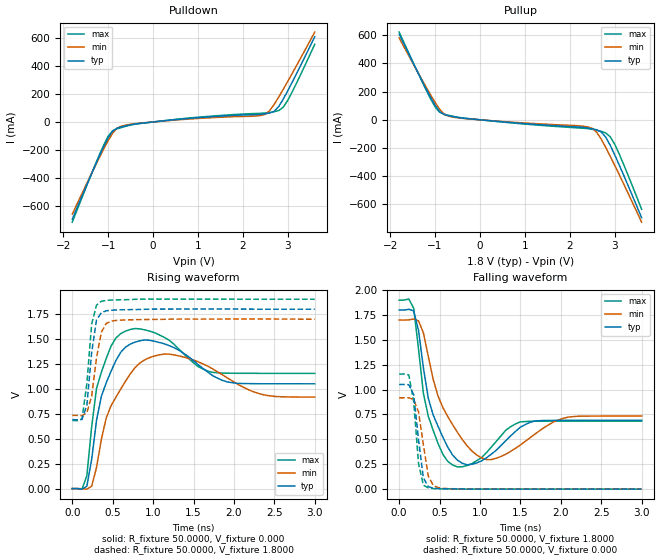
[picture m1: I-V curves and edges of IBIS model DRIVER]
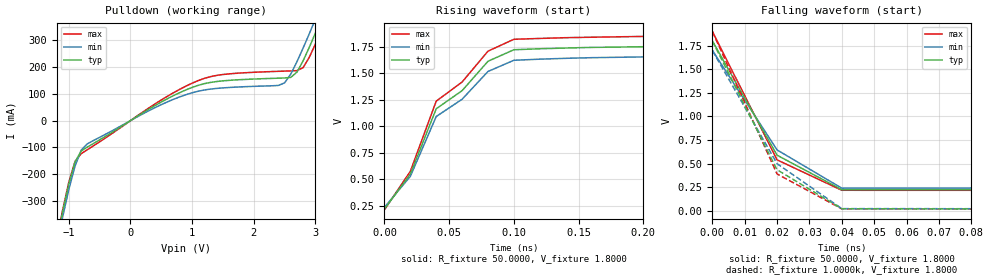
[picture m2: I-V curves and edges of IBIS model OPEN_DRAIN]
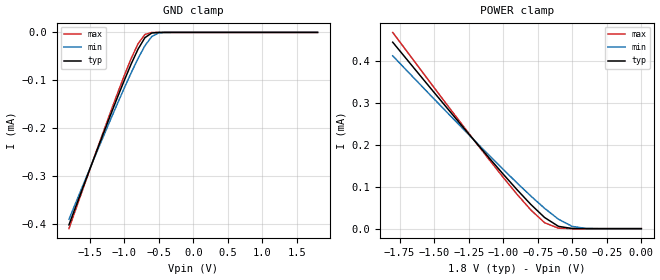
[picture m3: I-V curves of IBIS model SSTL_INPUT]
| IBIS file inb868.ibs created by s2ibis2 version 1.1
| North Carolina State University Electronics Research Laboratory  1995
[IBIS ver]   3.2
[File name]   inb868_v2p0.ibs
[File Rev]   2.0
[Date]   July 03, 2007
[Source]   Inphi Corporation
[Notes]   Add 5 nh package inductance
[Disclaimer] This IBIS model is provided on an AS IS basis and Inphi makes
                 no warranty with respect to the information contained within.
                 You can put blank lines in any of these sections. (But s2ibis2
                 won't print them.) Of course, as noted in the documentation,
                 any text in these sections is truncated at 1KB.
[Copyright]   Copyright 2007 Inphi Corporation.
|   Component INSSTUB32868
[Component]   INSSTUB32868
[Manufacturer]   Inphi Corporation
[Package]
| variable   typ   min   max
R_pkg   2.00m   1.00m   4.00m
L_pkg   5.00nH   4.50nH   5.50nH
C_pkg   0.30pF   0.10pF   0.50pF
[Pin]  signal_name   model_name
A1   D2   SSTL_INPUT
B1   D4   SSTL_INPUT
C1   D6   SSTL_INPUT
D1   D8   SSTL_INPUT
E1   D9   SSTL_INPUT
F1   D10   SSTL_INPUT
G1   D11   SSTL_INPUT
H1   D12   SSTL_INPUT
J1   DCS1   SSTL_INPUT
K1   DCS0   SSTL_INPUT
L1   CK   CLK_INPUT
M1   CKB   CLK_INPUT
N1   D15   SSTL_INPUT
P1   D16   SSTL_INPUT
R1   D17   SSTL_INPUT
T1   D18   SSTL_INPUT
U1   D19   SSTL_INPUT
V1   D20   SSTL_INPUT
W1   D21   SSTL_INPUT
Y1   D23   SSTL_INPUT
AA1   D25   SSTL_INPUT
AB1   D27   SSTL_INPUT
A2   D1   SSTL_INPUT
B2   D3   SSTL_INPUT
C2   D5   SSTL_INPUT
D2   D7   SSTL_INPUT
E2   Q6A   DRIVER
F2   Q8A   DRIVER
G2   Q10A   DRIVER
H2   Q12A   DRIVER
J2   QCS1A   DRIVER
K2   QCS0A   DRIVER
L2   CSGEN   INPUT
M2   RESET   INPUT
N2   Q15A   DRIVER
P2   Q16A   DRIVER
R2   Q17A   DRIVER
T2   Q19A   DRIVER
U2   Q21A   DRIVER
V2   Q23A   DRIVER
W2   D22   SSTL_INPUT
Y2   D24   SSTL_INPUT
AA2   D26   SSTL_INPUT
AB2   D28   SSTL_INPUT
A3   C0   SSTL_INPUT
B3   VDD   POWER
C3   GND   GND
D3   VDD   POWER
E3   GND   GND
F3   VDD   POWER
G3   GND   GND
H3   VDD   POWER
J3   GND   GND
K3   VDD   POWER
L3   PARIN   SSTL_INPUT
M3   QERR   OPEN_DRAIN
N3   GND   GND
P3   VDD   POWER
R3   GND   GND
T3   VDD   POWER
U3   GND   GND
V3   VDD   POWER
W3   GND   GND
Y3   VDD   POWER
AA3   GND   GND
|AB3   NC   INPUT
A4   GND   GND
B4   VDD   POWER
C4   GND   GND
D4   VDD   POWER
E4   GND   GND
F4   VDD   POWER
G4   GND   GND
H4   VDD   POWER
J4   GND   GND
K4   VDD   POWER
L4   GND   GND
M4   VDD   POWER
N4   GND   GND
P4   VDD   POWER
R4   GND   GND
T4   VDD   POWER
U4   GND   GND
V4   VDD   POWER
W4   GND   GND
Y4   VDD   POWER
AA4   GND   GND
AB4   VDD   POWER
|A5   VREF   VREF_INPUT
B5   VDD   POWER
C5   GND   GND
D5   VDD   POWER
E5   GND   GND
F5   VDD   POWER
G5   GND   GND
H5   VDD   POWER
J5   GND   GND
K5   VDD   POWER
L5   GND   GND
M5   VDD   POWER
N5   GND   GND
P5   VDD   POWER
R5   GND   GND
T5   VDD   POWER
U5   GND   GND
V5   VDD   POWER
W5   GND   GND
Y5   VDD   POWER
AA5   GND   GND
|AB5   VREF   VREF_INPUT
A6   GND   GND
B6   VDD   POWER
C6   GND   GND
D6   VDD   POWER
E6   GND   GND
F6   VDD   POWER
G6   GND   GND
H6   VDD   POWER
J6   GND   GND
K6   VDD   POWER
L6   GND   GND
M6   VDD   POWER
N6   GND   GND
P6   VDD   POWER
R6   GND   GND
T6   VDD   POWER
U6   GND   GND
V6   VDD   POWER
W6   GND   GND
Y6   VDD   POWER
AA6   GND   GND
AB6   VDD   POWER
A7   Q1A   DRIVER
B7   Q2A   DRIVER
C7   Q3A   DRIVER
D7   Q4A   DRIVER
E7   Q5A   DRIVER
F7   Q7A   DRIVER
G7   Q9A   DRIVER
H7   Q11A   DRIVER
J7   Q10B   DRIVER
K7   Q12B   DRIVER
L7   Q14B   DRIVER
M7   Q15B   DRIVER
N7   Q17B   DRIVER
P7   Q19B   DRIVER
R7   Q18A   DRIVER
T7   Q20A   DRIVER
U7   Q22A   DRIVER
V7   Q24A   DRIVER
W7   Q25A   DRIVER
Y7   Q26A   DRIVER
AA7   Q27A   DRIVER
AB7   Q28A   DRIVER
A8   Q1B   DRIVER
B8   Q2B   DRIVER
C8   Q3B   DRIVER
D8   Q4B   DRIVER
E8   Q5B   DRIVER
F8   Q6B   DRIVER
G8   Q7B   DRIVER
H8   Q8B   DRIVER
J8   Q9B   DRIVER
K8   Q11B   DRIVER
L8   Q13B   DRIVER
M8   Q16B   DRIVER
N8   Q18B   DRIVER
P8   Q20B   DRIVER
R8   Q21B   DRIVER
T8   Q22B   DRIVER
U8   Q23B   DRIVER
V8   Q24B   DRIVER
W8   Q25B   DRIVER
Y8   Q26B   DRIVER
AA8   Q27B   DRIVER
AB8   Q28B   DRIVER
[Diff Pin]  inv_pin   vdiff   tdelay_typ  tdelay_min  tdelay_max
L1   M1   0.600V   NA
| Models and submodels in the file (5): DRIVER (Output), OPEN_DRAIN (Open_drain), SSTL_INPUT (Input), CLK_INPUT (Input), INPUT (Input)
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|   Model driver
[Model]   DRIVER
Model_type   Output
Polarity   Inverting
Vmeas =   0.9000V
Cref =  30.0000pF
Rref =   0.5000k
Vref =   0.9000V
C_comp   1.5700pF   1.3800pF   1.6900pF
|[Model Spec]
|Vmeas   0.9000   0.8500   0.9500
[Temperature Range]   25.0000   70.0000   0.000
[Voltage Range]   1.8000V   1.7000V   1.9000V
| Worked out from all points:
|   slope of the pulldown table from 0 to 0.27 V, typ, clamps not added: 29.1 ohm
|   slope of the pullup table from 0 to 0.27 V, typ, clamps not added: 33.9 ohm
|   rising waveform, R_fixture 50.0000, V_fixture 0.000: 20-80 % time 117ps typ, 141ps min, 94.8ps max; typ from 0 V to 1.05 V
|   rising waveform, R_fixture 50.0000, V_fixture 1.8000: 20-80 % time 89.9ps typ, 105ps min, 82.6ps max; typ from 0.692 V to 1.8 V
|   falling waveform, R_fixture 50.0000, V_fixture 1.8000: 20-80 % time 118ps typ, 169ps min, 106ps max; typ from 1.8 V to 0.692 V
|   falling waveform, R_fixture 50.0000, V_fixture 0.000: 20-80 % time 90.3ps typ, 103ps min, 77.3ps max; typ from 1.05 V to 0 V
[Pulldown]
| voltage   I(typ)   I(min)   I(max)
-1.8V     -694.3mA   -657.8mA   -715.2mA
-1.1V     -175.6mA   -192.8mA   -164.5mA
-1V       -112.2mA   -132.7mA   -101.3mA
-900mV    -64.89mA   -79.75mA   -62.94mA
-700mV    -35.02mA   -29.04mA   -38.97mA
-400mV    -14.43mA   -11.99mA   -15.94mA
1V        30.29mA    24.91mA    33.77mA
2.5V      58.8mA     54.88mA    64.14mA
2.7V      76.44mA    127.5mA    73.3mA
2.9V      164mA      233.9mA    106mA
3.1V      285mA      347.6mA    216mA
3.6V      608.6mA    641.3mA    554.1mA
[Pullup]
| voltage   I(typ)   I(min)   I(max)
-1.8V     607.7mA    581.3mA    622.6mA
-1.1V     159.8mA    176.7mA    148.9mA
-900mV    58.52mA    75.79mA    53.9mA
-800mV    37.48mA    40.21mA    40.1mA
-500mV    16.83mA    14.27mA    18.39mA
2.2V      -51.63mA   -42.48mA   -58.04mA
2.5V      -64.16mA   -60.5mA    -67.56mA
2.7V      -86.52mA   -137.3mA   -81.83mA
2.8V      -122.6mA   -195.7mA   -93.56mA
2.9V      -180.8mA   -258.1mA   -120.3mA
3.1V      -319.9mA   -388.6mA   -242mA
3.6V      -695.3mA   -726.9mA   -635.2mA
[Ramp]
| variable   typ   min   max
dV/dt_r   0.6306/0.1062n   0.5510/0.1345n   0.6936/83.6967p
dV/dt_f   0.6649/0.1174n   0.5792/0.1660n   0.7303/96.8268p
R_load = 50.0000
[Rising Waveform]
R_fixture = 50.0000
V_fixture = 0.000
V_fixture_min = 0.000
V_fixture_max = 0.000
| time   V(typ)   V(min)   V(max)
0s        11.73uV    -19.3uV    39.05uV
180ps     23.07mV    -5.798mV   126.9mV
240ps     293.1mV    23.67mV    620.2mV
300ps     685mV      212mV      1.005V
360ps     925.9mV    494.2mV    1.167V
660ps     1.42V      1.079V     1.581V
1.2ns     1.434V     1.349V     1.488V
1.74ns    1.131V     1.2V       1.166V
2.34ns    1.052V     946.2mV    1.156V
3ns       1.051V     918.3mV    1.156V
[Rising Waveform]
R_fixture = 50.0000
V_fixture = 1.8000
V_fixture_min = 1.7000
V_fixture_max = 1.9000
| time   V(typ)   V(min)   V(max)
0s        691.8mV    734.9mV    682.9mV
120ps     694.9mV    732.9mV    696.4mV
180ps     833.3mV    759.8mV    1.052V
240ps     1.367V     928.3mV    1.652V
300ps     1.693V     1.313V     1.841V
360ps     1.766V     1.57V      1.88V
420ps     1.784V     1.657V     1.889V
480ps     1.79V      1.68V      1.892V
600ps     1.794V     1.69V      1.895V
3ns       1.8V       1.7V       1.9V
[Falling Waveform]
R_fixture = 50.0000
V_fixture = 1.8000
V_fixture_min = 1.7000
V_fixture_max = 1.9000
| time   V(typ)   V(min)   V(max)
0s        1.8V       1.7V       1.899V
180ps     1.792V     1.71V      1.817V
300ps     1.219V     1.571V     961.7mV
360ps     914.5mV    1.336V     732.9mV
480ps     632.6mV    938.2mV    461.1mV
660ps     343.7mV    650mV      242.4mV
1.08ns    313.6mV    294.8mV    365.8mV
1.68ns    684.3mV    552.2mV    682mV
2.1ns     691.6mV    724.8mV    682.5mV
3ns       691.8mV    734.7mV    682.9mV
[Falling Waveform]
R_fixture = 50.0000
V_fixture = 0.000
V_fixture_min = 0.000
V_fixture_max = 0.000
| time   V(typ)   V(min)   V(max)
0s        1.051V     917.5mV    1.156V
120ps     1.049V     917.9mV    1.147V
180ps     949.3mV    899.5mV    877.1mV
240ps     493.5mV    776.8mV    255.5mV
300ps     112.1mV    444mV      38.85mV
360ps     24.55mV    132.8mV    11.85mV
420ps     9.444mV    37.53mV    4.923mV
480ps     4.598mV    14.89mV    2.877mV
540ps     2.877mV    7.404mV    1.965mV
3ns       -25.99uV   -92.96uV   27.69uV
|   Model open_drain
[Model]   OPEN_DRAIN
Model_type   Open_drain
Polarity   Inverting
Vmeas =   0.9000V
Cref =  10.0000pF
Rref =   1.0000k
Vref =   1.8000V
C_comp   1.5700pF   1.3800pF   1.6900pF
|[Model Spec]
|Vmeas   0.9000   0.8500   0.9500
[Temperature Range]   25.0000   70.0000   0.000
[Voltage Range]   1.8000V   1.7000V   1.9000V
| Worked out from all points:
|   slope of the pulldown table from 0 to 0.27 V, typ, clamps not added: 6.93 ohm
|   rising waveform, R_fixture 50.0000, V_fixture 1.8000: 20-80 % time 51.2ps typ, 51.3ps min, 51.1ps max; typ from 0.218 V to 1.79 V
|   falling waveform, R_fixture 50.0000, V_fixture 1.8000: 20-80 % time 17.8ps typ, 20.3ps min, 14.9ps max; typ from 1.8 V to 0.218 V
|   falling waveform, R_fixture 1.0000k, V_fixture 1.8000: 20-80 % time 17.9ps typ, 20.6ps min, 15.1ps max; typ from 1.8 V to 0.013 V
[Pulldown]
| voltage   I(typ)   I(min)   I(max)
-1.8V     -1.246A    -1.207A    -1.277A
-1.1V     -339.3mA   -359mA     -332.3mA
-900mV    -154.3mA   -169.9mA   -152.4mA
-800mV    -113.6mA   -110mA     -123.3mA
700mV     93.56mA    79.75mA    104.3mA
1.3V      142.6mA    117.7mA    164.2mA
2.4V      158.3mA    131.3mA    183.9mA
2.7V      180.8mA    219.6mA    186.5mA
2.8V      222.9mA    270.5mA    197.7mA
3V        326.7mA    378.5mA    285.7mA
3.2V      437.9mA    490.2mA    394.7mA
3.6V      668mA      719.2mA    624.5mA
[Ramp]
| variable   typ   min   max
dV/dt_r   0.9447/48.5093p   0.8756/49.3194p   1.0090/47.9138p
dV/dt_f   0.9491/11.2446p   0.8794/10.1326p   1.0133/11.6633p
R_load = 50.0000
[Rising Waveform]
R_fixture = 50.0000
V_fixture = 1.8000
V_fixture_min = 1.7000
V_fixture_max = 1.9000
| time   V(typ)   V(min)   V(max)
0s        217.5mV    233.6mV    210.4mV
20ps      547.1mV    525.4mV    572.7mV
40ps      1.163V     1.09V      1.235V
60ps      1.334V     1.253V     1.415V
80ps      1.611V     1.515V     1.707V
100ps     1.72V      1.621V     1.819V
160ps     1.742V     1.645V     1.838V
340ps     1.764V     1.666V     1.861V
620ps     1.782V     1.683V     1.881V
1ns       1.792V     1.693V     1.892V
[Falling Waveform]
R_fixture = 50.0000
V_fixture = 1.8000
V_fixture_min = 1.7000
V_fixture_max = 1.9000
| time   V(typ)   V(min)   V(max)
0s        1.8V       1.7V       1.9V
20ps      590mV      645.9mV    540.7mV
40ps      225.1mV    240.8mV    218.8mV
1ns       218.2mV    234.4mV    211.1mV
[Falling Waveform]
R_fixture = 1.0000k
V_fixture = 1.8000
V_fixture_min = 1.7000
V_fixture_max = 1.9000
| time   V(typ)   V(min)   V(max)
0s        1.8V       1.699V     1.9V
20ps      436mV      499.9mV    391.5mV
40ps      22.8mV     24.3mV     21.52mV
1ns       12.88mV    13.94mV    12.31mV
|   Model sstl_input
[Model]   SSTL_INPUT
Model_type   Input
Vinl=   0.7750V
Vinh=   1.0250V
C_comp   2.7000pF   2.4000pF   3.0000pF
|[Model Spec]
|Vinl   0.775   0.725   0.825
|Vinh   1.025   0.975   1.075
[Temperature Range]   25.0000   70.0000   0.000
[Voltage Range]   1.8000V   1.7000V   1.9000V
[GND_clamp]
| voltage   I(typ)   I(min)   I(max)
-1.8V     -401.3uA   -389.7uA   -409.2uA
-1.3V     -210.3uA   -216.4uA   -206.6uA
-1V       -100.5uA   -116.3uA   -90.53uA
-900mV    -66.2uA    -84.54uA   -54.88uA
-800mV    -34.99uA   -54.51uA   -23.73uA
-700mV    -10.98uA   -27.84uA   -4.282uA
-600mV    -1.224uA   -8.534uA   -244nA
-500mV    -73.08nA   -1.145uA   -10.47nA
1.8V      10.84pA    123pA      10.2pA
[POWER_clamp]
| voltage   I(typ)   I(min)   I(max)
-1.8V     444.7uA    412.2uA    468.1uA
-1.3V     245.7uA    241.3uA    249.3uA
-1V       130uA      141.4uA    122.3uA
-800mV    57.78uA    77.86uA    44.57uA
-700mV    26.5uA     48.36uA    14.08uA
-600mV    5.47uA     22.53uA    1.144uA
-500mV    328.3nA    5.329uA    37.49nA
-400mV    13.55nA    478nA      1.143nA
0V        10.84pA    14.36pA    11.4pA
